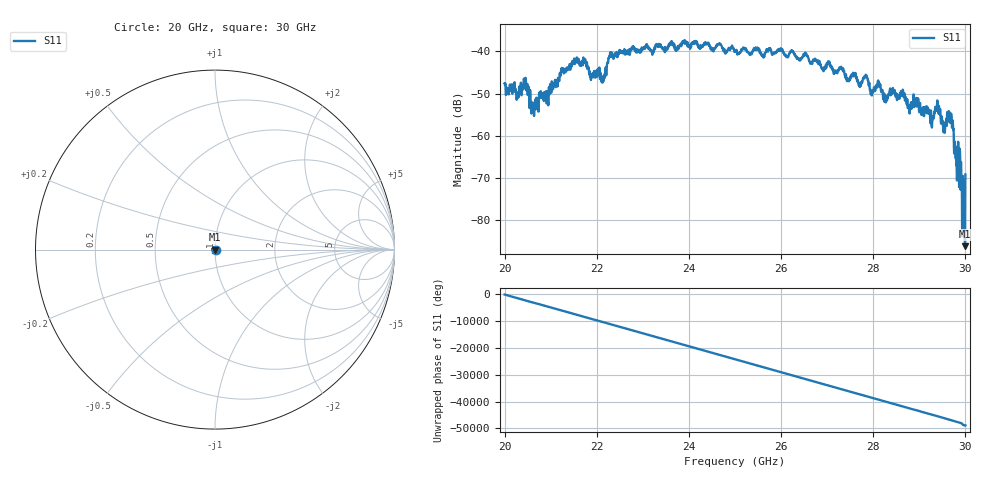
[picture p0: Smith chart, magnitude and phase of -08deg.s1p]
#  HZ  S  RI  R  50.00
! Rohde & Schwarz ZVA40 4Ports - Version 3.90 - 1145.1110k42 SN: 100403
! Date: 2023-10-03 12:35:20
! Measurement: S12
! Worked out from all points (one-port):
!   5001 points, 20 GHz to 30 GHz, reference 50 ohm
!   lowest |S11| = -86.2 dB at 29.99 GHz (marker M1), VSWR 1.00, Z = 50 + j0.00486 ohm
!   |S11| at or under -10 dB: start of sweep to end of sweep
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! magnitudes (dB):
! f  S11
! 20 GHz  -47.6
! 20.29 GHz  -50.4
! 20.45 GHz  -47.0
! 20.63 GHz  -52.6
! 21.25 GHz  -44.5
! 21.72 GHz  -42.1
! 22.12 GHz  -46.2
! 22.28 GHz  -41.0
! 22.5 GHz  -40.4
! 23.75 GHz  -39.6
! 25 GHz  -40.0
! 26.25 GHz  -40.0
! 27.5 GHz  -46.4
! 27.84 GHz  -45.9
! 27.97 GHz  -50.4
! 28.12 GHz  -47.2
! 28.26 GHz  -51.3
! 28.63 GHz  -50.4
! 28.75 GHz  -53.4
! 28.94 GHz  -53.0
! 29.28 GHz  -56.5
! 29.41 GHz  -54.2
! 29.55 GHz  -57.9
! 29.65 GHz  -56.8
! 29.87 GHz  -63.6
! 29.94 GHz  -69.5
! 29.99 GHz  -86.2
! 30 GHz  -69.2
